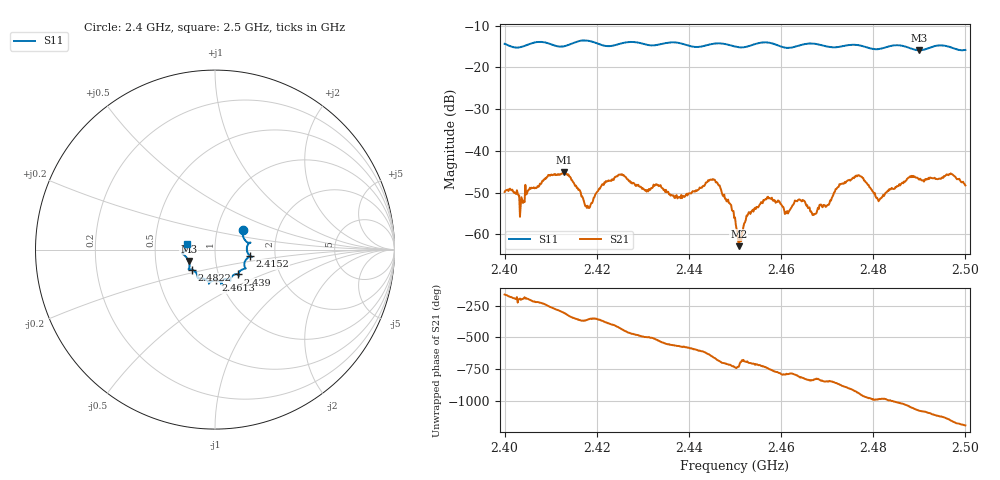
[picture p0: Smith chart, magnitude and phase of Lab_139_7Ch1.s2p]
# Hz S RI R 50
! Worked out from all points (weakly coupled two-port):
!   601 points, 2.4 GHz to 2.5 GHz, reference 50 ohm
!   highest |S21| = -45.16 dB at 2.4128 GHz (marker M1); lowest = -62.8 dB at 2.4508 GHz (marker M2)
!   lowest |S11| = -15.9 dB at 2.49 GHz (marker M3), VSWR 1.38, Z = 36.9 - j4.83 ohm
!   |S11| at or under -10 dB: start of sweep to end of sweep
!   S12 and S22 are empty: the file has one direction only
!   S11 on the Smith chart (normalised r, x): 2.4 GHz: 1.33, +0.31; 2.4152 GHz: 1.48, -0.11; 2.439 GHz: 1.24, -0.35; 2.4613 GHz: 0.96, -0.34; 2.4822 GHz: 0.76, -0.17; 2.5 GHz: 0.73, +0.05
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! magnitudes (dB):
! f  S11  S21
! 2.4 GHz  -14.4  -49.8
! 2.4038 GHz  -15.0  -51.8
! 2.4128 GHz  -15.0  -45.2
! 2.4152 GHz  -14.1  -48.0
! 2.4167 GHz  -13.6  -50.9
! 2.4182 GHz  -13.6  -53.6
! 2.4252 GHz  -14.3  -45.6
! 2.4333 GHz  -14.6  -48.2
! 2.439 GHz  -14.5  -51.1
! 2.4452 GHz  -14.4  -46.8
! 2.45 GHz  -15.0  -55.9
! 2.4508 GHz  -15.2  -62.8
! 2.453 GHz  -14.9  -54.7
! 2.4567 GHz  -14.0  -51.5
! 2.4613 GHz  -15.3  -54.4
! 2.4642 GHz  -14.7  -51.8
! 2.4667 GHz  -14.3  -54.8
! 2.4765 GHz  -14.7  -46.1
! 2.4822 GHz  -15.4  -50.5
! 2.4833 GHz  -15.0  -49.6
! 2.49 GHz  -15.9  -46.9
! 2.5 GHz  -15.8  -48.3
